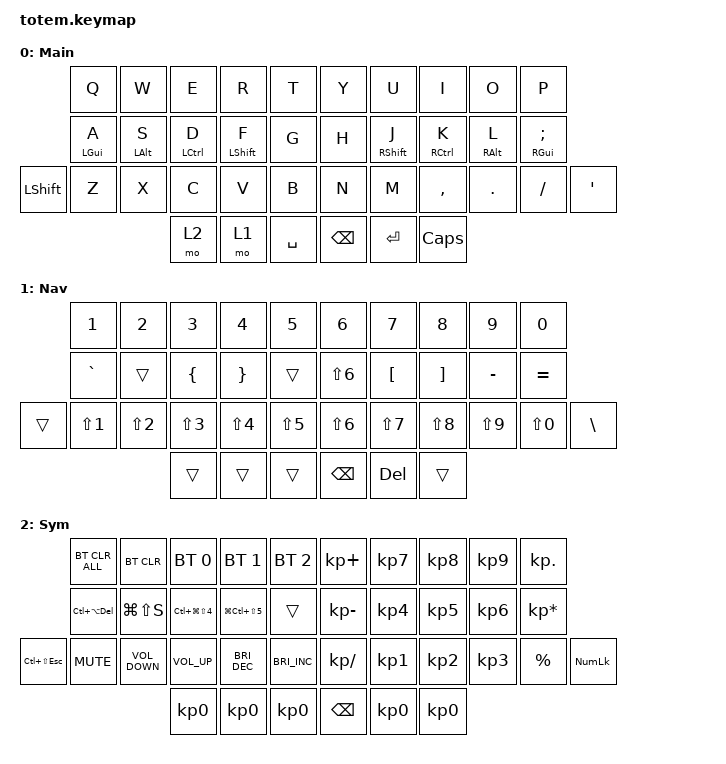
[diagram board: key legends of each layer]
#include <behaviors.dtsi>
#include <dt-bindings/zmk/bt.h>
#include <dt-bindings/zmk/keys.h>

#define MAIN 0
#define NAV  1
#define SYM  2
#define MAC  3

&mt {
    tapping-term-ms = <200>;
    global-quick-tap;
    flavor = "tap-preferred";
    quick-tap-ms = <100>;
};

/ {
    combos {
        compatible = "zmk,combos";

        combo_esc {
            timeout-ms = <50>;
            key-positions = <0 1>;
            bindings = <&kp ESC>;
        };

        combo_del {
            bindings = <&kp DELETE>;
            key-positions = <8 9>;
        };

        combo_enter {
            bindings = <&kp ENTER>;
            key-positions = <16 17 18>;
        };

        tab {
            bindings = <&kp TAB>;
            key-positions = <10 11>;
        };

        combo_grave {
            timeout-ms = <50>;
            key-positions = <21 22>;
            bindings = <&kp GRAVE>;
        };
    };

    keymap {
        compatible = "zmk,keymap";

        Main {
            bindings = <
           &kp Q       &kp W       &kp E        &kp R        &kp T        &kp Y          &kp U        &kp I        &kp O       &kp P
           &mt LGUI A  &mt LALT S  &mt LCTRL D  &mt LSHFT F  &kp G        &kp H          &mt RSHFT J  &mt RCTRL K  &mt RALT L  &mt RGUI SEMI
&kp LSHFT  &kp Z       &kp X       &kp C        &kp V        &kp B        &kp N          &kp M        &kp COMMA    &kp DOT     &kp FSLH  &kp SINGLE_QUOTE
                                   &mo 2        &mo 1        &kp SPACE    &kp BACKSPACE  &kp RET      &kp CAPS
            >;
        };

        Nav {
            bindings = <
        &kp N1      &kp N2            &kp N3            &kp N4            &kp N5        &kp N6            &kp N7            &kp N8             &kp N9      &kp N0
        &kp GRAVE   &trans            &kp LEFT_BRACE    &kp RIGHT_BRACE   &trans        &kp LS(NUMBER_6)  &kp LEFT_BRACKET  &kp RIGHT_BRACKET  &kp MINUS   &kp EQUAL
&trans  &kp LS(N1)  &kp LS(NUMBER_2)  &kp LS(NUMBER_3)  &kp LS(NUMBER_4)  &kp LS(N5)    &kp LS(NUMBER_6)  &kp LS(NUMBER_7)  &kp LS(N8)         &kp LS(N9)  &kp LS(N0)  &kp BACKSLASH
                                      &trans            &trans            &trans        &kp BACKSPACE     &kp DEL           &trans
            >;
        };

        Sym {
            bindings = <
                    &bt BT_CLR_ALL      &bt BT_CLR         &bt BT_SEL 0              &bt BT_SEL 1              &bt BT_SEL 2     &kp KP_PLUS    &kp KP_N7        &kp KP_N8  &kp KP_N9  &kp KP_DOT
                    &kp LC(LA(DELETE))  &kp LG(LS(S))      &kp LC(LG(LS(NUMBER_4)))  &kp LG(LC(LS(NUMBER_5)))  &trans           &kp KP_MINUS   &kp KP_N4        &kp KP_N5  &kp KP_N6  &kp KP_ASTERISK
&kp LC(LS(ESCAPE))  &kp C_MUTE          &kp C_VOLUME_DOWN  &kp C_VOLUME_UP           &kp C_BRI_DEC             &kp C_BRI_INC    &kp KP_DIVIDE  &kp KP_NUMBER_1  &kp KP_N2  &kp KP_N3  &kp PERCENT      &kp KP_NUMLOCK
                                                           &kp KP_NUMBER_0           &kp KP_N0                 &kp KP_N0        &kp BACKSPACE  &kp KP_N0        &kp KP_N0
            >;
        };
    };
};
